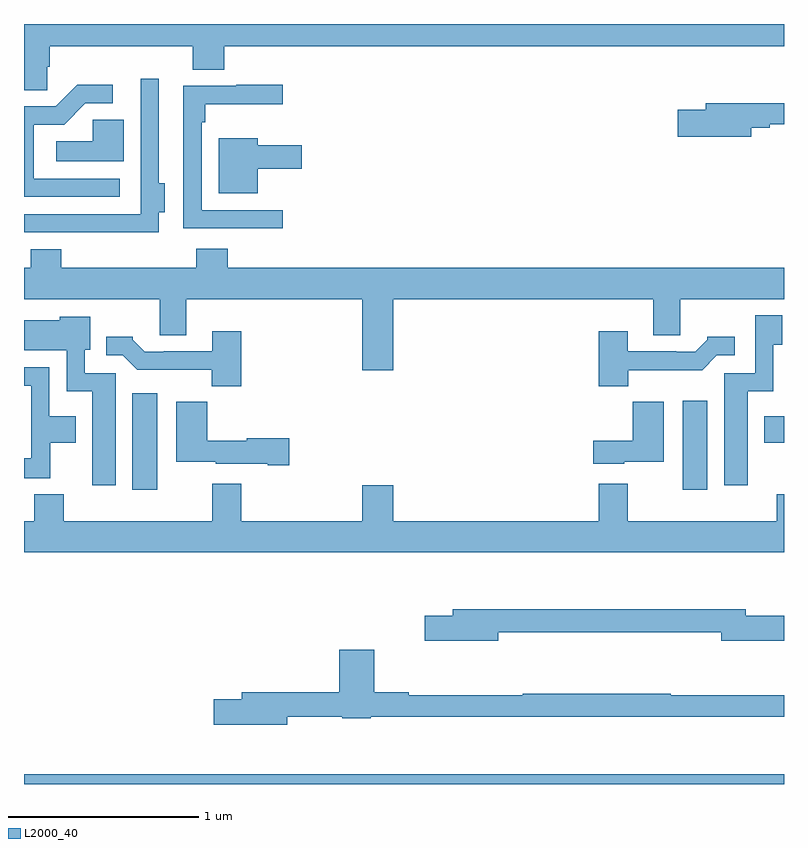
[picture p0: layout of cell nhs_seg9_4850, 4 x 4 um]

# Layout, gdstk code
import gdstk
lib = gdstk.Library(unit=1e-6, precision=1e-09)
def R(c, l, rs):  # rectangles x0, y0, x1, y1
    for r in rs: c.add(gdstk.rectangle(r[:2], r[2:], *l))
def P(c, l, *ps):  # polygons
    for p in ps: c.add(gdstk.Polygon(p, *l))
L2000_40 = (2000, 40)

nhs_seg9_4850 = lib.new_cell('nhs_seg9_4850')
R(nhs_seg9_4850, L2000_40, [(391,1228.5,395,1228.552), (391.571,1230.048,391.702,1230.556), (394.466,1230.048,394.597,1230.517), (394.895,1230.296,395,1230.436)])
P(nhs_seg9_4850, L2000_40, [(391.122,1232.275),(391.136,1232.275),(391.136,1232.384),(391.889,1232.384),(391.889,1232.26),(392.054,1232.26),(392.054,1232.384),(395,1232.384),(395,1232.5),(391,1232.5),(391,1232.152),(391.122,1232.152)],
  [(391.71,1231.508),(391.741,1231.508),(391.741,1231.661),(391.71,1231.661),(391.71,1232.212),(391.614,1232.212),(391.614,1231.5),(391,1231.5),(391,1231.404),(391.279,1231.404),(391.279,1231.403),(391.71,1231.403)],
  [(391.504,1231.686),(391.05,1231.686),(391.05,1231.971),(391.212,1231.971),(391.323,1232.082),(391.468,1232.082),(391.468,1232.18),(391.28,1232.18),(391.167,1232.067),(391,1232.067),(391,1231.59),(391.504,1231.59)],
  [(392.362,1231.521),(391.935,1231.521),(391.935,1231.982),(391.955,1231.982),(391.955,1232.078),(392.362,1232.078),(392.362,1232.179),(392.117,1232.179),(392.117,1232.175),(391.839,1232.175),(391.839,1231.425),(392.362,1231.425)],
  [(394.828,1231.954),(394.924,1231.954),(394.924,1231.973),(395,1231.973),(395,1232.083),(394.589,1232.083),(394.589,1232.049),(394.44,1232.049),(394.44,1231.907),(394.828,1231.907)],
  [(391.525,1231.997),(391.362,1231.997),(391.362,1231.882),(391.17,1231.882),(391.17,1231.778),(391.525,1231.778)],
  [(392.23,1231.739),(392.461,1231.739),(392.461,1231.861),(392.23,1231.861),(392.23,1231.9),(392.024,1231.9),(392.024,1231.61),(392.23,1231.61)],
  [(392.944,1231.052),(394.313,1231.052),(394.313,1230.862),(394.453,1230.862),(394.453,1231.052),(395,1231.052),(395,1231.216),(392.072,1231.216),(392.072,1231.318),(391.907,1231.318),(391.907,1231.216),(391.196,1231.216),(391.196,1231.315),(391.036,1231.315),(391.036,1231.216),(391,1231.216),(391,1231.052),(391.715,1231.052),(391.715,1230.862),(391.855,1230.862),(391.855,1231.052),(392.78,1231.052),(392.78,1230.678),(392.944,1230.678)],
  [(394.81,1230.566),(394.944,1230.566),(394.944,1230.811),(394.992,1230.811),(394.992,1230.967),(394.848,1230.967),(394.848,1230.663),(394.685,1230.663),(394.685,1230.072),(394.81,1230.072)],
  [(391.483,1230.663),(391.32,1230.663),(391.32,1230.786),(391.348,1230.786),(391.348,1230.958),(391.188,1230.958),(391.188,1230.94),(391,1230.94),(391,1230.782),(391.224,1230.782),(391.224,1230.566),(391.358,1230.566),(391.358,1230.072),(391.483,1230.072)],
  [(394.18,1230.678),(394.569,1230.678),(394.647,1230.756),(394.741,1230.756),(394.741,1230.853),(394.596,1230.853),(394.596,1230.838),(394.532,1230.774),(394.433,1230.774),(394.433,1230.777),(394.177,1230.777),(394.177,1230.883),(394.025,1230.883),(394.025,1230.593),(394.18,1230.593)],
  [(392.144,1230.883),(391.991,1230.883),(391.991,1230.777),(391.735,1230.777),(391.735,1230.774),(391.636,1230.774),(391.572,1230.838),(391.572,1230.853),(391.433,1230.853),(391.433,1230.756),(391.521,1230.756),(391.597,1230.68),(391.989,1230.68),(391.989,1230.593),(392.144,1230.593)],
  [(391.137,1230.296),(391.273,1230.296),(391.273,1230.436),(391.134,1230.436),(391.134,1230.693),(391,1230.693),(391,1230.597),(391.038,1230.597),(391.038,1230.214),(391,1230.214),(391,1230.11),(391.137,1230.11)],
  [(392.395,1230.32),(392.172,1230.32),(392.172,1230.307),(391.964,1230.307),(391.964,1230.511),(391.802,1230.511),(391.802,1230.197),(392.01,1230.197),(392.01,1230.185),(392.282,1230.185),(392.282,1230.178),(392.395,1230.178)],
  [(394.158,1230.197),(394.366,1230.197),(394.366,1230.511),(394.204,1230.511),(394.204,1230.307),(393.996,1230.307),(393.996,1230.185),(394.158,1230.185)],
  [(395,1230.025),(394.961,1230.025),(394.961,1229.884),(394.177,1229.884),(394.177,1230.079),(394.025,1230.079),(394.025,1229.884),(392.944,1229.884),(392.944,1230.073),(392.78,1230.073),(392.78,1229.884),(392.144,1229.884),(392.144,1230.079),(391.991,1230.079),(391.991,1229.884),(391.208,1229.884),(391.208,1230.025),(391.055,1230.025),(391.055,1229.884),(391,1229.884),(391,1229.72),(395,1229.72)],
  [(393.496,1229.298),(394.67,1229.298),(394.67,1229.255),(395,1229.255),(395,1229.385),(394.798,1229.385),(394.798,1229.419),(393.257,1229.419),(393.257,1229.385),(393.108,1229.385),(393.108,1229.255),(393.496,1229.255)],
  [(392.386,1228.854),(392.676,1228.854),(392.676,1228.846),(392.826,1228.846),(392.826,1228.854),(395,1228.854),(395,1228.967),(394.405,1228.967),(394.405,1228.975),(393.626,1228.975),(393.626,1228.967),(393.026,1228.967),(393.026,1228.982),(392.843,1228.982),(392.843,1229.206),(392.66,1229.206),(392.66,1228.982),(392.147,1228.982),(392.147,1228.946),(391.998,1228.946),(391.998,1228.811),(392.386,1228.811)])

lib.write_gds('nhs_seg9_4850.gds')
